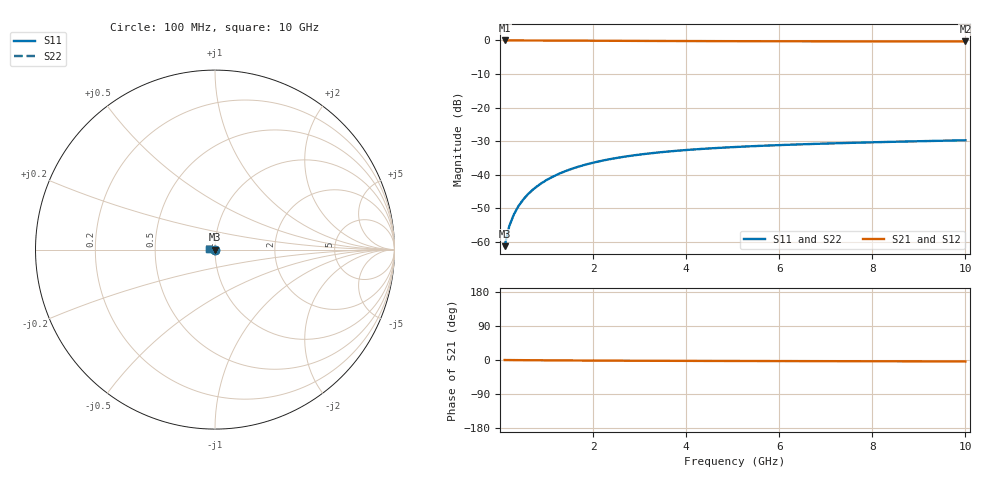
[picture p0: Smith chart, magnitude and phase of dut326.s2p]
! Touchstone file exported from HFSS 2024.1.0
!  File:  C:/UserFiles/LocalFiles/RDL_TSV_Batchsim/temp_TSV1_326_1779617342.aedt
!  Generated:  06:15:18 PM May 24, 2026
!  Design:  TSV1
!  Project:  temp_TSV1_326_1779617342
!  Setup:  Setup1
!  Solution:  Sweep
! Variables:
!  dtsv = 10um
!  hbump = 3um
!  htsv = 56.1um
!  lrdl = 252.1521522um
!  p = 40
!  p1 = 50.39um
!  t = 500um
!  trdl = 3um
!  wrdl = 24.89489489um
# GHz S MA R 50.000000
! Terminal data exported
! Port[1] = TSV22_T1
! Port[2] = TSV22_T2
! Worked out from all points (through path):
!   100 points, 100 MHz to 10 GHz, reference 50 ohm
!   highest |S21| = 0.00 dB at 100 MHz (marker M1); lowest = -0.3 dB at 10 GHz (marker M2)
!   lowest |S11| = -61.3 dB at 100 MHz (marker M3), VSWR 1.00, Z = 50 - j0.0859 ohm
!   |S11| at or under -10 dB: start of sweep to end of sweep
!   |S22| runs from -61.3 to -29.7 dB; largest |S21 - S12| = 6.3e-15
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0.1  0.0008636 -84.0  0.9998 -0.1  0.9998 -0.1  0.0008636 -84.0
! Gamma 0 0 0 0
! Port Impedance 50 0 50 0
0.2  0.001719 -89.6  0.9998 -0.2  0.9998 -0.2  0.001719 -89.6
0.3  0.002576 -92.8  0.9996 -0.3  0.9996 -0.3  0.002576 -92.8
0.4  0.00343 -95.3  0.9994 -0.4  0.9994 -0.4  0.00343 -95.3
0.5  0.004277 -97.6  0.9991 -0.4  0.9991 -0.4  0.004277 -97.6
0.6  0.005114 -99.8  0.9988 -0.5  0.9988 -0.5  0.005114 -99.8
0.7  0.005939 -101.8  0.9984 -0.6  0.9984 -0.6  0.005939 -101.8
0.8  0.00675 -103.8  0.998 -0.7  0.998 -0.7  0.00675 -103.8
0.9  0.007547 -105.7  0.9976 -0.8  0.9976 -0.8  0.007547 -105.7
1.1  0.009092 -109.5  0.9966 -0.9  0.9966 -0.9  0.009092 -109.5
1.4  0.01127 -114.8  0.9949 -1.2  0.9949 -1.2  0.01127 -114.8
1.6  0.01263 -118.1  0.9937 -1.3  0.9937 -1.3  0.01263 -118.1
1.8  0.0139 -121.4  0.9924 -1.4  0.9924 -1.4  0.0139 -121.4
2.1  0.01567 -125.9  0.9904 -1.6  0.9904 -1.6  0.01567 -125.9
2.5  0.01775 -131.6  0.9878 -1.8  0.9878 -1.8  0.01775 -131.6
2.9  0.01954 -136.7  0.9853 -1.9  0.9853 -1.9  0.01954 -136.7
3.4  0.02145 -142.6  0.9825 -2.1  0.9825 -2.1  0.02145 -142.6
4.2  0.02389 -150.7  0.9786 -2.4  0.9786 -2.4  0.02389 -150.7
5.1  0.02598 -158.4  0.9752 -2.6  0.9752 -2.6  0.02598 -158.4
6.7  0.02871 -169.5  0.9708 -3.0  0.9708 -3.0  0.02871 -169.5
8.4  0.03089 -178.9  0.9678 -3.4  0.9678 -3.4  0.03089 -178.9
10  0.03264 173.7  0.9659 -3.8  0.9659 -3.8  0.03264 173.7
